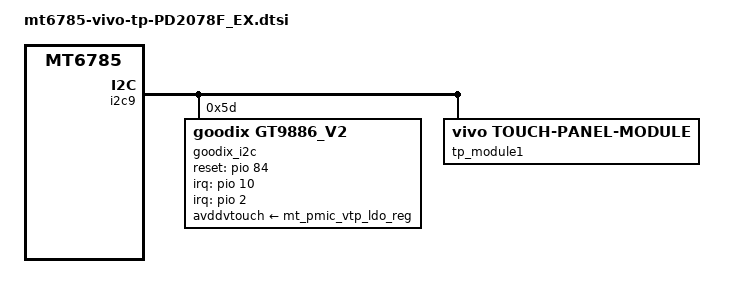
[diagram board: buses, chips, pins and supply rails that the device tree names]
&pio {
	i2c_driving_set_cfg:i2c_driving_set {
		pins_cmd_dat {
			pinmux = <PINMUX_GPIO151__FUNC_SDA9>,
				<PINMUX_GPIO152__FUNC_SCL9>;
			drive-strength = <6>; //0:2mA 1:4mA 2:6mA 3:8mA 4:10mA 5:12mA 6:14mA 7:16mA
		};
	};
};

&i2c9 {
	status = "okay";
	pinctrl-names = "default";
	pinctrl-0 = <&i2c_driving_set_cfg>;

	goodix_i2c@5d {
		compatible = "goodix,gt9886_V2";
		reg = <0x5d>;
		interrupt-parent = <&pio>;
		interrupts = <2 IRQ_TYPE_EDGE_FALLING 2 0>;
		avddvtouch-supply = <&mt_pmic_vtp_ldo_reg>;

		/* pins used by touchscreen */
		//pinctrl-names = "pmx_ts_active","pmx_ts_suspend";
		//pinctrl-0 = <&ts_reset_active_s3706 &ts_int_active_s3706>;/*"ts_int_active_s3706" is defined in  xxx-pinctrl.dtsi file*/
		//pinctrl-1 = <&ts_int_suspend_s3706 &ts_reset_suspend_s3706>;
		//pinctrl-0 = <&ts_reset_active_gt9886 &ts_int_active_gt9886>;
		//pinctrl-names = "default";
		//pinctrl-0 = <&tp_int_gt9886 &tp_rst_gt9886>;

		goodix,reset-gpio = <&pio 84 0x00>;
		goodix,irq-gpio = <&pio 10 0x00>;
		goodix,irq-flags = <2>; /* 1:trigger rising, 2:trigger falling;*/

		vts-ic-number=<46>;
		vts-type=<0>;
		sensor-test-key= "com.goodix:GTMTest:android.intent.action.goodix:0:goodixTestResult";
		lcm-noise-test-key="com.goodix.deltadiff:DeltaDiffActivity:action.null:null:null";
		rawdata-test-key="com.goodix.deltadiff:DataShowActivity:null:null:null";
		rf-noise-test-key="com.goodix.deltadiff:BspTestActivity:com.goodix.deltadiff.action.Receiver:0:GOODIX_DELTA";

		goodix,panel-max-id = <10>;
		goodix,panel-max-x = <1080>;
		goodix,panel-max-y = <2400>;
		goodix,panel-max-w = <512>;
		goodix,panel-max-p = <512>;
		goodix,panel-key-map = <158 172 217>; /*KEY_BACK, KEY_HOMEPAGE, KEY_SEARCH*/
		goodix,power-on-delay-us = <100000>; /*100ms*/
		goodix,power-off-delay-us = <5000>;

		/*goodix,swap-axis;*/
		goodix,x2x;
		goodix,y2y;
		goodix,pen-enable;
		goodix,key-of-pen = <331 332>;/*BTN_STYLUS, BTN_STYLUS2*/
		sensor0 {
			normal-cfg = [
			];
		};
	};

	tp_module1 {
		compatible = "vivo,touch-panel-module";
		vts-ic-number=<46>;
		vts-type=<0>;
		vts-lcmid=<34>;
		vts-dimention-x=<1080>;
		vts-dimention-y=<2400>;
		vts-tx-sensors=<34>;
		vts-rx-sensors=<15>;
		vts-incell=<0>;
		vts-need-caliberation=<0>;
		vts-virtual-proximinity=<1>;
		vts-long-press=<1>;
		vts-module-vendor=<0x90>;
		vts-game-mode=<1>;
		vts-game-high_rate=<1>;//0:keep prev   1: high_rate  2:normal_rate
		vts-game-idle-time=<10>;//0: keep prev  FF:ic default time , 0~ff: enter idle time
		vts-fp-feedback=<1>;
		vts-input-method=<1>;
		vts-gesture=<1>;
		vts-screen-clock=<1>;
		vts-report-timestamp=<1>;
		vts-finger-mode=<1>;
	};
};
